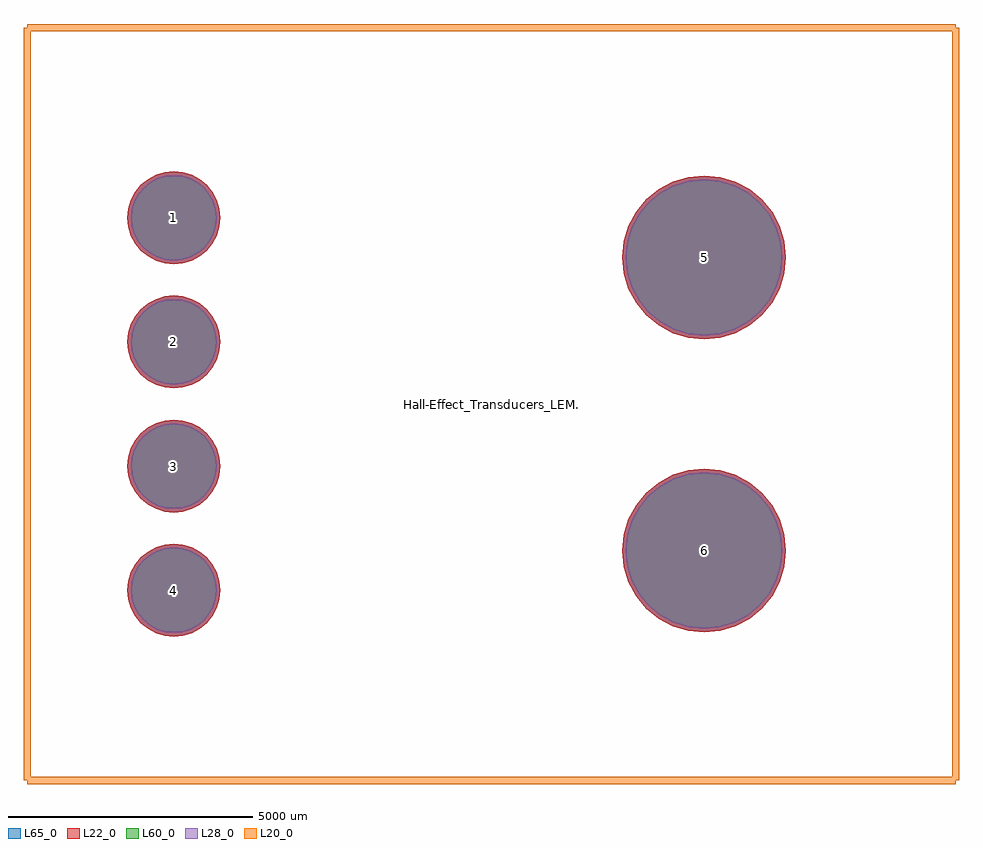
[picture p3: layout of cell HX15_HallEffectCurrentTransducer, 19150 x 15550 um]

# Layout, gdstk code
import gdstk
lib = gdstk.Library(unit=1e-6, precision=1e-09)
def P(c, l, *ps):  # polygons
    for p in ps: c.add(gdstk.Polygon(p, *l))
L20_0 = (20, 0)
L22_0 = (22, 0)
L28_0 = (28, 0)
L60_0 = (60, 0)
L65_0 = (65, 0)

hx15_halleffectcurrenttr = lib.new_cell('HX15_HallEffectCurrentTransducer')
P(hx15_halleffectcurrenttr, L22_0, [(-5550,-3810),(-5568.254,-3624.664),(-5622.314,-3446.451),(-5710.104,-3282.208),(-5828.249,-3138.249),(-5972.208,-3020.104),(-6136.451,-2932.314),(-6314.664,-2878.254),(-6500,-2860),(-6685.336,-2878.254),(-6863.549,-2932.314),(-7027.792,-3020.104),(-7171.751,-3138.249),(-7289.896,-3282.208),(-7377.686,-3446.451),(-7431.746,-3624.664),(-7450,-3810),(-7431.746,-3995.336),(-7377.686,-4173.549),(-7289.896,-4337.792),(-7171.751,-4481.751),(-7027.792,-4599.896),(-6863.549,-4687.686),(-6685.336,-4741.746),(-6500,-4760),(-6314.664,-4741.746),(-6136.451,-4687.686),(-5972.208,-4599.896),(-5828.249,-4481.751),(-5710.104,-4337.792),(-5622.314,-4173.549),(-5568.254,-3995.336)],
  [(-5550,3810),(-5568.254,3995.336),(-5622.314,4173.549),(-5710.104,4337.792),(-5828.249,4481.751),(-5972.208,4599.896),(-6136.451,4687.686),(-6314.664,4741.746),(-6500,4760),(-6685.336,4741.746),(-6863.549,4687.686),(-7027.792,4599.896),(-7171.751,4481.751),(-7289.896,4337.792),(-7377.686,4173.549),(-7431.746,3995.336),(-7450,3810),(-7431.746,3624.664),(-7377.686,3446.451),(-7289.896,3282.208),(-7171.751,3138.249),(-7027.792,3020.104),(-6863.549,2932.314),(-6685.336,2878.254),(-6500,2860),(-6314.664,2878.254),(-6136.451,2932.314),(-5972.208,3020.104),(-5828.249,3138.249),(-5710.104,3282.208),(-5622.314,3446.451),(-5568.254,3624.664)],
  [(-5550,1270),(-5568.254,1455.336),(-5622.314,1633.549),(-5710.104,1797.792),(-5828.249,1941.751),(-5972.208,2059.896),(-6136.451,2147.686),(-6314.664,2201.746),(-6500,2220),(-6685.336,2201.746),(-6863.549,2147.686),(-7027.792,2059.896),(-7171.751,1941.751),(-7289.896,1797.792),(-7377.686,1633.549),(-7431.746,1455.336),(-7450,1270),(-7431.746,1084.664),(-7377.686,906.451),(-7289.896,742.208),(-7171.751,598.249),(-7027.792,480.104),(-6863.549,392.314),(-6685.336,338.254),(-6500,320),(-6314.664,338.254),(-6136.451,392.314),(-5972.208,480.104),(-5828.249,598.249),(-5710.104,742.208),(-5622.314,906.451),(-5568.254,1084.664)],
  [(-5550,-1270),(-5568.254,-1084.664),(-5622.314,-906.451),(-5710.104,-742.208),(-5828.249,-598.249),(-5972.208,-480.104),(-6136.451,-392.314),(-6314.664,-338.254),(-6500,-320),(-6685.336,-338.254),(-6863.549,-392.314),(-7027.792,-480.104),(-7171.751,-598.249),(-7289.896,-742.208),(-7377.686,-906.451),(-7431.746,-1084.664),(-7450,-1270),(-7431.746,-1455.336),(-7377.686,-1633.549),(-7289.896,-1797.792),(-7171.751,-1941.751),(-7027.792,-2059.896),(-6863.549,-2147.686),(-6685.336,-2201.746),(-6500,-2220),(-6314.664,-2201.746),(-6136.451,-2147.686),(-5972.208,-2059.896),(-5828.249,-1941.751),(-5710.104,-1797.792),(-5622.314,-1633.549),(-5568.254,-1455.336)],
  [(6025,-3000),(5992.815,-2673.224),(5897.498,-2359.005),(5742.712,-2069.42),(5534.404,-1815.596),(5280.58,-1607.288),(4990.995,-1452.502),(4676.776,-1357.185),(4350,-1325),(4023.224,-1357.185),(3709.005,-1452.502),(3419.42,-1607.288),(3165.596,-1815.596),(2957.288,-2069.42),(2802.502,-2359.005),(2707.185,-2673.224),(2675,-3000),(2707.185,-3326.776),(2802.502,-3640.995),(2957.288,-3930.58),(3165.596,-4184.404),(3419.42,-4392.712),(3709.005,-4547.498),(4023.224,-4642.815),(4350,-4675),(4676.776,-4642.815),(4990.995,-4547.498),(5280.58,-4392.712),(5534.404,-4184.404),(5742.712,-3930.58),(5897.498,-3640.995),(5992.815,-3326.776)],
  [(6025,3000),(5992.815,3326.776),(5897.498,3640.995),(5742.712,3930.58),(5534.404,4184.404),(5280.58,4392.712),(4990.995,4547.498),(4676.776,4642.815),(4350,4675),(4023.224,4642.815),(3709.005,4547.498),(3419.42,4392.712),(3165.596,4184.404),(2957.288,3930.58),(2802.502,3640.995),(2707.185,3326.776),(2675,3000),(2707.185,2673.224),(2802.502,2359.005),(2957.288,2069.42),(3165.596,1815.596),(3419.42,1607.288),(3709.005,1452.502),(4023.224,1357.185),(4350,1325),(4676.776,1357.185),(4990.995,1452.502),(5280.58,1607.288),(5534.404,1815.596),(5742.712,2069.42),(5897.498,2359.005),(5992.815,2673.224)])
P(hx15_halleffectcurrenttr, L28_0, [(-5625,-3810),(-5641.813,-3639.296),(-5691.605,-3475.152),(-5772.464,-3323.876),(-5881.282,-3191.282),(-6013.876,-3082.464),(-6165.152,-3001.605),(-6329.296,-2951.813),(-6500,-2935),(-6670.704,-2951.813),(-6834.848,-3001.605),(-6986.124,-3082.464),(-7118.718,-3191.282),(-7227.536,-3323.876),(-7308.395,-3475.152),(-7358.187,-3639.296),(-7375,-3810),(-7358.187,-3980.704),(-7308.395,-4144.848),(-7227.536,-4296.124),(-7118.718,-4428.718),(-6986.124,-4537.536),(-6834.848,-4618.395),(-6670.704,-4668.187),(-6500,-4685),(-6329.296,-4668.187),(-6165.152,-4618.395),(-6013.876,-4537.536),(-5881.282,-4428.718),(-5772.464,-4296.124),(-5691.605,-4144.848),(-5641.813,-3980.704)],
  [(-5625,3810),(-5641.813,3980.704),(-5691.605,4144.848),(-5772.464,4296.124),(-5881.282,4428.718),(-6013.876,4537.536),(-6165.152,4618.395),(-6329.296,4668.187),(-6500,4685),(-6670.704,4668.187),(-6834.848,4618.395),(-6986.124,4537.536),(-7118.718,4428.718),(-7227.536,4296.124),(-7308.395,4144.848),(-7358.187,3980.704),(-7375,3810),(-7358.187,3639.296),(-7308.395,3475.152),(-7227.536,3323.876),(-7118.718,3191.282),(-6986.124,3082.464),(-6834.848,3001.605),(-6670.704,2951.813),(-6500,2935),(-6329.296,2951.813),(-6165.152,3001.605),(-6013.876,3082.464),(-5881.282,3191.282),(-5772.464,3323.876),(-5691.605,3475.152),(-5641.813,3639.296)],
  [(-5625,1270),(-5641.813,1440.704),(-5691.605,1604.848),(-5772.464,1756.124),(-5881.282,1888.718),(-6013.876,1997.536),(-6165.152,2078.395),(-6329.296,2128.187),(-6500,2145),(-6670.704,2128.187),(-6834.848,2078.395),(-6986.124,1997.536),(-7118.718,1888.718),(-7227.536,1756.124),(-7308.395,1604.848),(-7358.187,1440.704),(-7375,1270),(-7358.187,1099.296),(-7308.395,935.152),(-7227.536,783.876),(-7118.718,651.282),(-6986.124,542.464),(-6834.848,461.605),(-6670.704,411.813),(-6500,395),(-6329.296,411.813),(-6165.152,461.605),(-6013.876,542.464),(-5881.282,651.282),(-5772.464,783.876),(-5691.605,935.152),(-5641.813,1099.296)],
  [(-5625,-1270),(-5641.813,-1099.296),(-5691.605,-935.152),(-5772.464,-783.876),(-5881.282,-651.282),(-6013.876,-542.464),(-6165.152,-461.605),(-6329.296,-411.813),(-6500,-395),(-6670.704,-411.813),(-6834.848,-461.605),(-6986.124,-542.464),(-7118.718,-651.282),(-7227.536,-783.876),(-7308.395,-935.152),(-7358.187,-1099.296),(-7375,-1270),(-7358.187,-1440.704),(-7308.395,-1604.848),(-7227.536,-1756.124),(-7118.718,-1888.718),(-6986.124,-1997.536),(-6834.848,-2078.395),(-6670.704,-2128.187),(-6500,-2145),(-6329.296,-2128.187),(-6165.152,-2078.395),(-6013.876,-1997.536),(-5881.282,-1888.718),(-5772.464,-1756.124),(-5691.605,-1604.848),(-5641.813,-1440.704)],
  [(5950,-3000),(5919.256,-2687.855),(5828.207,-2387.707),(5680.351,-2111.088),(5481.371,-1868.629),(5238.912,-1669.649),(4962.293,-1521.793),(4662.145,-1430.744),(4350,-1400),(4037.855,-1430.744),(3737.707,-1521.793),(3461.088,-1669.649),(3218.629,-1868.629),(3019.649,-2111.088),(2871.793,-2387.707),(2780.744,-2687.855),(2750,-3000),(2780.744,-3312.145),(2871.793,-3612.293),(3019.649,-3888.912),(3218.629,-4131.371),(3461.088,-4330.351),(3737.707,-4478.207),(4037.855,-4569.256),(4350,-4600),(4662.145,-4569.256),(4962.293,-4478.207),(5238.912,-4330.351),(5481.371,-4131.371),(5680.351,-3888.912),(5828.207,-3612.293),(5919.256,-3312.145)],
  [(5950,3000),(5919.256,3312.145),(5828.207,3612.293),(5680.351,3888.912),(5481.371,4131.371),(5238.912,4330.351),(4962.293,4478.207),(4662.145,4569.256),(4350,4600),(4037.855,4569.256),(3737.707,4478.207),(3461.088,4330.351),(3218.629,4131.371),(3019.649,3888.912),(2871.793,3612.293),(2780.744,3312.145),(2750,3000),(2780.744,2687.855),(2871.793,2387.707),(3019.649,2111.088),(3218.629,1868.629),(3461.088,1669.649),(3737.707,1521.793),(4037.855,1430.744),(4350,1400),(4662.145,1430.744),(4962.293,1521.793),(5238.912,1669.649),(5481.371,1868.629),(5680.351,2111.088),(5828.207,2387.707),(5919.256,2687.855)])
P(hx15_halleffectcurrenttr, L60_0, [(-5625,-3810),(-5641.813,-3639.296),(-5691.605,-3475.152),(-5772.464,-3323.876),(-5881.282,-3191.282),(-6013.876,-3082.464),(-6165.152,-3001.605),(-6329.296,-2951.813),(-6500,-2935),(-6670.704,-2951.813),(-6834.848,-3001.605),(-6986.124,-3082.464),(-7118.718,-3191.282),(-7227.536,-3323.876),(-7308.395,-3475.152),(-7358.187,-3639.296),(-7375,-3810),(-7358.187,-3980.704),(-7308.395,-4144.848),(-7227.536,-4296.124),(-7118.718,-4428.718),(-6986.124,-4537.536),(-6834.848,-4618.395),(-6670.704,-4668.187),(-6500,-4685),(-6329.296,-4668.187),(-6165.152,-4618.395),(-6013.876,-4537.536),(-5881.282,-4428.718),(-5772.464,-4296.124),(-5691.605,-4144.848),(-5641.813,-3980.704)],
  [(-5625,3810),(-5641.813,3980.704),(-5691.605,4144.848),(-5772.464,4296.124),(-5881.282,4428.718),(-6013.876,4537.536),(-6165.152,4618.395),(-6329.296,4668.187),(-6500,4685),(-6670.704,4668.187),(-6834.848,4618.395),(-6986.124,4537.536),(-7118.718,4428.718),(-7227.536,4296.124),(-7308.395,4144.848),(-7358.187,3980.704),(-7375,3810),(-7358.187,3639.296),(-7308.395,3475.152),(-7227.536,3323.876),(-7118.718,3191.282),(-6986.124,3082.464),(-6834.848,3001.605),(-6670.704,2951.813),(-6500,2935),(-6329.296,2951.813),(-6165.152,3001.605),(-6013.876,3082.464),(-5881.282,3191.282),(-5772.464,3323.876),(-5691.605,3475.152),(-5641.813,3639.296)],
  [(-5625,1270),(-5641.813,1440.704),(-5691.605,1604.848),(-5772.464,1756.124),(-5881.282,1888.718),(-6013.876,1997.536),(-6165.152,2078.395),(-6329.296,2128.187),(-6500,2145),(-6670.704,2128.187),(-6834.848,2078.395),(-6986.124,1997.536),(-7118.718,1888.718),(-7227.536,1756.124),(-7308.395,1604.848),(-7358.187,1440.704),(-7375,1270),(-7358.187,1099.296),(-7308.395,935.152),(-7227.536,783.876),(-7118.718,651.282),(-6986.124,542.464),(-6834.848,461.605),(-6670.704,411.813),(-6500,395),(-6329.296,411.813),(-6165.152,461.605),(-6013.876,542.464),(-5881.282,651.282),(-5772.464,783.876),(-5691.605,935.152),(-5641.813,1099.296)],
  [(-5625,-1270),(-5641.813,-1099.296),(-5691.605,-935.152),(-5772.464,-783.876),(-5881.282,-651.282),(-6013.876,-542.464),(-6165.152,-461.605),(-6329.296,-411.813),(-6500,-395),(-6670.704,-411.813),(-6834.848,-461.605),(-6986.124,-542.464),(-7118.718,-651.282),(-7227.536,-783.876),(-7308.395,-935.152),(-7358.187,-1099.296),(-7375,-1270),(-7358.187,-1440.704),(-7308.395,-1604.848),(-7227.536,-1756.124),(-7118.718,-1888.718),(-6986.124,-1997.536),(-6834.848,-2078.395),(-6670.704,-2128.187),(-6500,-2145),(-6329.296,-2128.187),(-6165.152,-2078.395),(-6013.876,-1997.536),(-5881.282,-1888.718),(-5772.464,-1756.124),(-5691.605,-1604.848),(-5641.813,-1440.704)],
  [(5950,-3000),(5919.256,-2687.855),(5828.207,-2387.707),(5680.351,-2111.088),(5481.371,-1868.629),(5238.912,-1669.649),(4962.293,-1521.793),(4662.145,-1430.744),(4350,-1400),(4037.855,-1430.744),(3737.707,-1521.793),(3461.088,-1669.649),(3218.629,-1868.629),(3019.649,-2111.088),(2871.793,-2387.707),(2780.744,-2687.855),(2750,-3000),(2780.744,-3312.145),(2871.793,-3612.293),(3019.649,-3888.912),(3218.629,-4131.371),(3461.088,-4330.351),(3737.707,-4478.207),(4037.855,-4569.256),(4350,-4600),(4662.145,-4569.256),(4962.293,-4478.207),(5238.912,-4330.351),(5481.371,-4131.371),(5680.351,-3888.912),(5828.207,-3612.293),(5919.256,-3312.145)],
  [(5950,3000),(5919.256,3312.145),(5828.207,3612.293),(5680.351,3888.912),(5481.371,4131.371),(5238.912,4330.351),(4962.293,4478.207),(4662.145,4569.256),(4350,4600),(4037.855,4569.256),(3737.707,4478.207),(3461.088,4330.351),(3218.629,4131.371),(3019.649,3888.912),(2871.793,3612.293),(2780.744,3312.145),(2750,3000),(2780.744,2687.855),(2871.793,2387.707),(3019.649,2111.088),(3218.629,1868.629),(3461.088,1669.649),(3737.707,1521.793),(4037.855,1430.744),(4350,1400),(4662.145,1430.744),(4962.293,1521.793),(5238.912,1669.649),(5481.371,1868.629),(5680.351,2111.088),(5828.207,2387.707),(5919.256,2687.855)])
P(hx15_halleffectcurrenttr, L65_0, [(-5550,-3810),(-5568.254,-3624.664),(-5622.314,-3446.451),(-5710.104,-3282.208),(-5828.249,-3138.249),(-5972.208,-3020.104),(-6136.451,-2932.314),(-6314.664,-2878.254),(-6500,-2860),(-6685.336,-2878.254),(-6863.549,-2932.314),(-7027.792,-3020.104),(-7171.751,-3138.249),(-7289.896,-3282.208),(-7377.686,-3446.451),(-7431.746,-3624.664),(-7450,-3810),(-7431.746,-3995.336),(-7377.686,-4173.549),(-7289.896,-4337.792),(-7171.751,-4481.751),(-7027.792,-4599.896),(-6863.549,-4687.686),(-6685.336,-4741.746),(-6500,-4760),(-6314.664,-4741.746),(-6136.451,-4687.686),(-5972.208,-4599.896),(-5828.249,-4481.751),(-5710.104,-4337.792),(-5622.314,-4173.549),(-5568.254,-3995.336)],
  [(-5550,3810),(-5568.254,3995.336),(-5622.314,4173.549),(-5710.104,4337.792),(-5828.249,4481.751),(-5972.208,4599.896),(-6136.451,4687.686),(-6314.664,4741.746),(-6500,4760),(-6685.336,4741.746),(-6863.549,4687.686),(-7027.792,4599.896),(-7171.751,4481.751),(-7289.896,4337.792),(-7377.686,4173.549),(-7431.746,3995.336),(-7450,3810),(-7431.746,3624.664),(-7377.686,3446.451),(-7289.896,3282.208),(-7171.751,3138.249),(-7027.792,3020.104),(-6863.549,2932.314),(-6685.336,2878.254),(-6500,2860),(-6314.664,2878.254),(-6136.451,2932.314),(-5972.208,3020.104),(-5828.249,3138.249),(-5710.104,3282.208),(-5622.314,3446.451),(-5568.254,3624.664)],
  [(-5550,1270),(-5568.254,1455.336),(-5622.314,1633.549),(-5710.104,1797.792),(-5828.249,1941.751),(-5972.208,2059.896),(-6136.451,2147.686),(-6314.664,2201.746),(-6500,2220),(-6685.336,2201.746),(-6863.549,2147.686),(-7027.792,2059.896),(-7171.751,1941.751),(-7289.896,1797.792),(-7377.686,1633.549),(-7431.746,1455.336),(-7450,1270),(-7431.746,1084.664),(-7377.686,906.451),(-7289.896,742.208),(-7171.751,598.249),(-7027.792,480.104),(-6863.549,392.314),(-6685.336,338.254),(-6500,320),(-6314.664,338.254),(-6136.451,392.314),(-5972.208,480.104),(-5828.249,598.249),(-5710.104,742.208),(-5622.314,906.451),(-5568.254,1084.664)],
  [(-5550,-1270),(-5568.254,-1084.664),(-5622.314,-906.451),(-5710.104,-742.208),(-5828.249,-598.249),(-5972.208,-480.104),(-6136.451,-392.314),(-6314.664,-338.254),(-6500,-320),(-6685.336,-338.254),(-6863.549,-392.314),(-7027.792,-480.104),(-7171.751,-598.249),(-7289.896,-742.208),(-7377.686,-906.451),(-7431.746,-1084.664),(-7450,-1270),(-7431.746,-1455.336),(-7377.686,-1633.549),(-7289.896,-1797.792),(-7171.751,-1941.751),(-7027.792,-2059.896),(-6863.549,-2147.686),(-6685.336,-2201.746),(-6500,-2220),(-6314.664,-2201.746),(-6136.451,-2147.686),(-5972.208,-2059.896),(-5828.249,-1941.751),(-5710.104,-1797.792),(-5622.314,-1633.549),(-5568.254,-1455.336)],
  [(6025,-3000),(5992.815,-2673.224),(5897.498,-2359.005),(5742.712,-2069.42),(5534.404,-1815.596),(5280.58,-1607.288),(4990.995,-1452.502),(4676.776,-1357.185),(4350,-1325),(4023.224,-1357.185),(3709.005,-1452.502),(3419.42,-1607.288),(3165.596,-1815.596),(2957.288,-2069.42),(2802.502,-2359.005),(2707.185,-2673.224),(2675,-3000),(2707.185,-3326.776),(2802.502,-3640.995),(2957.288,-3930.58),(3165.596,-4184.404),(3419.42,-4392.712),(3709.005,-4547.498),(4023.224,-4642.815),(4350,-4675),(4676.776,-4642.815),(4990.995,-4547.498),(5280.58,-4392.712),(5534.404,-4184.404),(5742.712,-3930.58),(5897.498,-3640.995),(5992.815,-3326.776)],
  [(6025,3000),(5992.815,3326.776),(5897.498,3640.995),(5742.712,3930.58),(5534.404,4184.404),(5280.58,4392.712),(4990.995,4547.498),(4676.776,4642.815),(4350,4675),(4023.224,4642.815),(3709.005,4547.498),(3419.42,4392.712),(3165.596,4184.404),(2957.288,3930.58),(2802.502,3640.995),(2707.185,3326.776),(2675,3000),(2707.185,2673.224),(2802.502,2359.005),(2957.288,2069.42),(3165.596,1815.596),(3419.42,1607.288),(3709.005,1452.502),(4023.224,1357.185),(4350,1325),(4676.776,1357.185),(4990.995,1452.502),(5280.58,1607.288),(5534.404,1815.596),(5742.712,2069.42),(5897.498,2359.005),(5992.815,2673.224)])
hx15_halleffectcurrenttr.add(gdstk.FlexPath([(-9500,7700),(-9500,-7700)], 149.998, ends="flush", simple_path=True, layer=20, datatype=0))  # L20_0
hx15_halleffectcurrenttr.add(gdstk.FlexPath([(9500,7700),(-9500,7700)], 149.998, ends="flush", simple_path=True, layer=20, datatype=0))  # L20_0
hx15_halleffectcurrenttr.add(gdstk.FlexPath([(9500,-7700),(9500,7700)], 149.998, ends="flush", simple_path=True, layer=20, datatype=0))  # L20_0
hx15_halleffectcurrenttr.add(gdstk.FlexPath([(-9500,-7700),(9500,-7700)], 149.998, ends="flush", simple_path=True, layer=20, datatype=0))  # L20_0
hx15_halleffectcurrenttr.add(gdstk.Label('Hall-Effect_Transducers_LEM.3dshapes/HX15_HallEffectCurrentTransducer.wrl', (0,0), layer=12, texttype=0))
hx15_halleffectcurrenttr.add(gdstk.Label('4', (-6500,-3810), layer=28, texttype=0))
hx15_halleffectcurrenttr.add(gdstk.Label('1', (-6500,3810), layer=28, texttype=0))
hx15_halleffectcurrenttr.add(gdstk.Label('2', (-6500,1270), layer=28, texttype=0))
hx15_halleffectcurrenttr.add(gdstk.Label('3', (-6500,-1270), layer=28, texttype=0))
hx15_halleffectcurrenttr.add(gdstk.Label('6', (4350,-3000), layer=28, texttype=0))
hx15_halleffectcurrenttr.add(gdstk.Label('5', (4350,3000), layer=28, texttype=0))
hx15_halleffectcurrenttr.add(gdstk.Label('type', (100,-10200), layer=9, texttype=0))
hx15_halleffectcurrenttr.add(gdstk.Label('devicename', (100,10800), layer=9, texttype=0))

lib.write_gds('HX15_HallEffectCurrentTransducer.gds')
